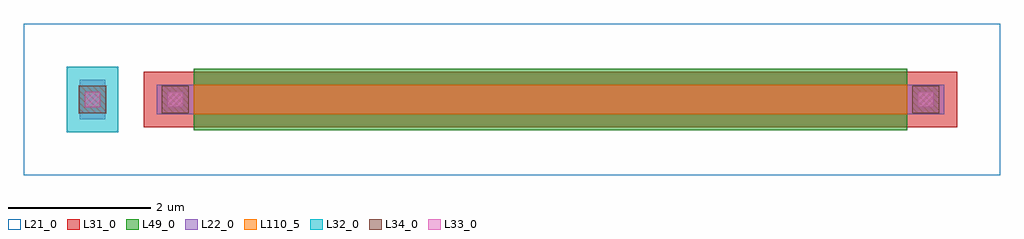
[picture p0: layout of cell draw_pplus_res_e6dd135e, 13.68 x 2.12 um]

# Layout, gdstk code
import gdstk
lib = gdstk.Library(unit=1e-6, precision=1e-09)
def R(c, l, rs):  # rectangles x0, y0, x1, y1
    for r in rs: c.add(gdstk.rectangle(r[:2], r[2:], *l))
L21_0 = (21, 0)
L22_0 = (22, 0)
L31_0 = (31, 0)
L32_0 = (32, 0)
L33_0 = (33, 0)
L34_0 = (34, 0)
L49_0 = (49, 0)
L110_5 = (110, 5)

draw_pplus_res_e6dd135e = lib.new_cell('draw_pplus_res_e6dd135e')
R(draw_pplus_res_e6dd135e, L21_0, [(-2.38,-0.85,11.3,1.27)])
R(draw_pplus_res_e6dd135e, L22_0, [(-1.6,-0.07,-1.24,0.49), (-0.52,0,10.52,0.42)])
R(draw_pplus_res_e6dd135e, L31_0, [(-0.7,-0.18,10.7,0.6)])
R(draw_pplus_res_e6dd135e, L32_0, [(-1.78,-0.25,-1.06,0.67)])
R(draw_pplus_res_e6dd135e, L33_0, [(-1.53,0.1,-1.31,0.32), (-0.37,0.1,-0.15,0.32), (10.15,0.1,10.37,0.32)])
R(draw_pplus_res_e6dd135e, L34_0, [(-1.61,0.02,-1.23,0.4), (-0.45,0.02,-0.07,0.4), (10.07,0.02,10.45,0.4)])
R(draw_pplus_res_e6dd135e, L49_0, [(0,-0.22,10,0.64)])
R(draw_pplus_res_e6dd135e, L110_5, [(0,0,10,0.42)])

lib.write_gds('draw_pplus_res_e6dd135e.gds')
